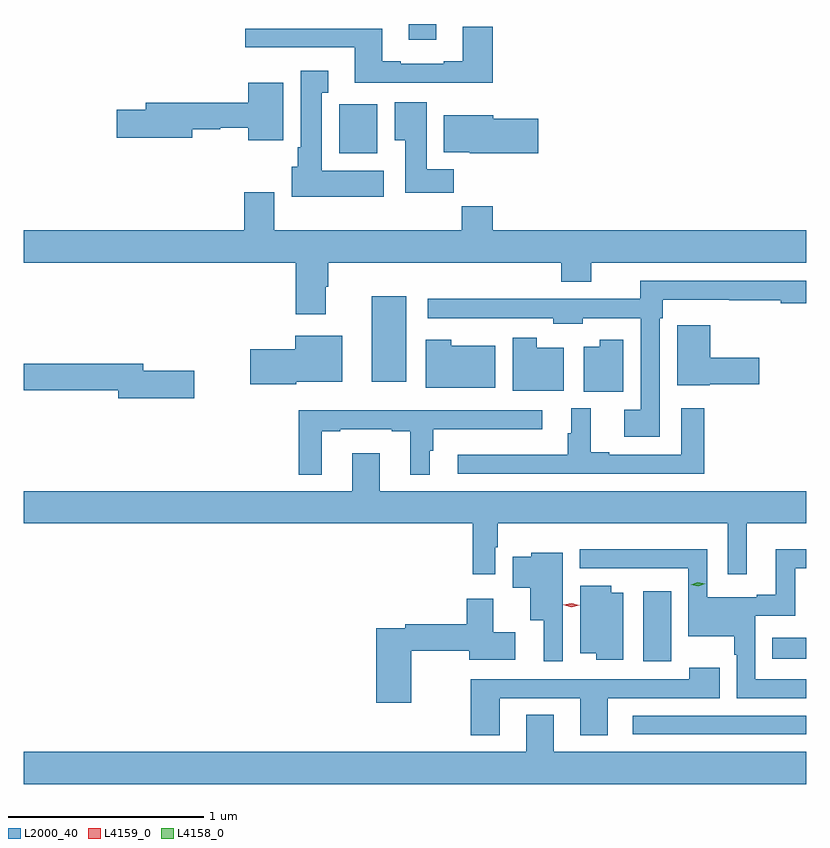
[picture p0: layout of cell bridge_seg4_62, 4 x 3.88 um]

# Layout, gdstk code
import gdstk
lib = gdstk.Library(unit=1e-6, precision=1e-09)
def R(c, l, rs):  # rectangles x0, y0, x1, y1
    for r in rs: c.add(gdstk.rectangle(r[:2], r[2:], *l))
def P(c, l, *ps):  # polygons
    for p in ps: c.add(gdstk.Polygon(p, *l))
L2000_40 = (2000, 40)
L4158_0 = (4158, 0)
L4159_0 = (4159, 0)

bridge_seg4_62 = lib.new_cell('bridge_seg4_62')
R(bridge_seg4_62, L2000_40, [(731.853,750.453,732.741,750.549), (731.906,750.828,732.049,751.186), (732.567,750.839,732.741,750.946), (730.52,752.255,730.696,752.692), (730.353,753.422,730.549,753.672), (730.709,754.002,730.849,754.083)])
P(bridge_seg4_62, L2000_40, [(731.138,754.069),(730.985,754.069),(730.985,753.892),(730.889,753.892),(730.889,753.879),(730.669,753.879),(730.669,753.892),(730.573,753.892),(730.573,754.06),(729.873,754.06),(729.873,753.963),(730.433,753.963),(730.433,753.783),(730.893,753.783),(730.893,753.782),(731.138,753.782)],
  [(730.582,753.334),(730.264,753.334),(730.264,753.731),(730.297,753.731),(730.297,753.844),(730.157,753.844),(730.157,753.454),(730.142,753.454),(730.142,753.354),(730.112,753.354),(730.112,753.2),(730.582,753.2)],
  [(730.069,753.784),(729.89,753.784),(729.89,753.68),(729.365,753.68),(729.365,753.644),(729.216,753.644),(729.216,753.502),(729.604,753.502),(729.604,753.544),(729.747,753.544),(729.747,753.552),(729.89,753.552),(729.89,753.488),(730.069,753.488)],
  [(730.94,753.34),(730.801,753.34),(730.801,753.682),(730.637,753.682),(730.637,753.488),(730.691,753.488),(730.691,753.222),(730.94,753.222)],
  [(731.371,753.599),(731.14,753.599),(731.14,753.616),(730.889,753.616),(730.889,753.428),(731.022,753.428),(731.022,753.422),(731.371,753.422)],
  [(730.285,752.741),(730.298,752.741),(730.298,752.864),(731.489,752.864),(731.489,752.765),(731.641,752.765),(731.641,752.864),(732.741,752.864),(732.741,753.028),(731.138,753.028),(731.138,753.152),(730.981,753.152),(730.981,753.028),(730.021,753.028),(730.021,753.223),(729.869,753.223),(729.869,753.028),(728.741,753.028),(728.741,752.864),(730.133,752.864),(730.133,752.601),(730.285,752.601)],
  [(731.991,752.579),(732.008,752.579),(732.008,752.675),(732.346,752.675),(732.346,752.671),(732.61,752.671),(732.61,752.656),(732.741,752.656),(732.741,752.772),(731.893,752.772),(731.893,752.678),(730.806,752.678),(730.806,752.579),(731.144,752.579),(731.144,752.58),(731.448,752.58),(731.448,752.552),(731.598,752.552),(731.598,752.58),(731.895,752.58),(731.895,752.113),(731.811,752.113),(731.811,751.973),(731.991,751.973)],
  [(732.246,752.243),(732.499,752.243),(732.499,752.377),(732.25,752.377),(732.25,752.544),(732.081,752.544),(732.081,752.441),(732.08,752.441),(732.08,752.237),(732.246,752.237)],
  [(730.134,752.255),(730.369,752.255),(730.369,752.491),(730.13,752.491),(730.13,752.421),(729.9,752.421),(729.9,752.243),(730.134,752.243)],
  [(731.5,752.428),(731.362,752.428),(731.362,752.479),(731.24,752.479),(731.24,752.21),(731.5,752.21)],
  [(731.806,752.47),(731.684,752.47),(731.684,752.434),(731.603,752.434),(731.603,752.204),(731.806,752.204)],
  [(731.152,752.44),(730.926,752.44),(730.926,752.47),(730.796,752.47),(730.796,752.225),(731.152,752.225)],
  [(729.613,752.312),(729.352,752.312),(729.352,752.348),(728.741,752.348),(728.741,752.212),(729.224,752.212),(729.224,752.17),(729.613,752.17)],
  [(732.218,752.119),(732.102,752.119),(732.102,751.881),(731.734,751.881),(731.734,751.894),(731.638,751.894),(731.638,752.119),(731.54,752.119),(731.54,751.992),(731.521,751.992),(731.521,751.882),(730.959,751.882),(730.959,751.785),(732.218,751.785)],
  [(730.264,752.001),(730.36,752.001),(730.36,752.013),(730.622,752.013),(730.622,752.001),(730.718,752.001),(730.718,751.781),(730.816,751.781),(730.816,751.902),(730.835,751.902),(730.835,752.012),(731.392,752.012),(731.392,752.109),(730.692,752.109),(730.692,752.11),(730.147,752.11),(730.147,751.781),(730.264,751.781)],
  [(731.151,751.41),(731.164,751.41),(731.164,751.532),(732.339,751.532),(732.339,751.272),(732.436,751.272),(732.436,751.532),(732.741,751.532),(732.741,751.696),(730.561,751.696),(730.561,751.891),(730.421,751.891),(730.421,751.696),(728.741,751.696),(728.741,751.532),(731.035,751.532),(731.035,751.272),(731.151,751.272)],
  [(732.741,750.735),(732.48,750.735),(732.48,751.059),(732.685,751.059),(732.685,751.302),(732.741,751.302),(732.741,751.399),(732.584,751.399),(732.584,751.168),(732.488,751.168),(732.488,751.155),(732.234,751.155),(732.234,751.399),(731.582,751.399),(731.582,751.302),(732.138,751.302),(732.138,750.956),(732.372,750.956),(732.372,750.86),(732.384,750.86),(732.384,750.639),(732.741,750.639)],
  [(731.496,751.141),(731.497,751.141),(731.497,751.381),(731.334,751.381),(731.334,751.36),(731.24,751.36),(731.24,751.202),(731.33,751.202),(731.33,751.037),(731.399,751.037),(731.399,750.828),(731.496,750.828)],
  [(731.806,751.177),(731.743,751.177),(731.743,751.213),(731.585,751.213),(731.585,750.869),(731.666,750.869),(731.666,750.836),(731.806,750.836)],
  [(730.722,750.88),(731.018,750.88),(731.018,750.836),(731.254,750.836),(731.254,750.976),(731.14,750.976),(731.14,751.147),(731.006,751.147),(731.006,751.016),(730.69,751.016),(730.69,750.996),(730.544,750.996),(730.544,750.615),(730.722,750.615)],
  [(731.173,750.639),(731.585,750.639),(731.585,750.45),(731.725,750.45),(731.725,750.639),(732.299,750.639),(732.299,750.793),(732.143,750.793),(732.143,750.735),(731.026,750.735),(731.026,750.45),(731.173,750.45)],
  [(732.741,750.364),(731.449,750.364),(731.449,750.554),(731.309,750.554),(731.309,750.364),(728.741,750.364),(728.741,750.2),(732.741,750.2)])
P(bridge_seg4_62, L4158_0, [(732.188,751.211),(732.151,751.219),(732.151,751.219),(732.151,751.219),(732.186,751.231),(732.223,751.224),(732.223,751.224),(732.223,751.224)])
P(bridge_seg4_62, L4159_0, [(731.54,751.103),(731.499,751.115),(731.499,751.115),(731.499,751.115),(731.541,751.123),(731.581,751.112),(731.581,751.112),(731.581,751.112)])

lib.write_gds('bridge_seg4_62.gds')
